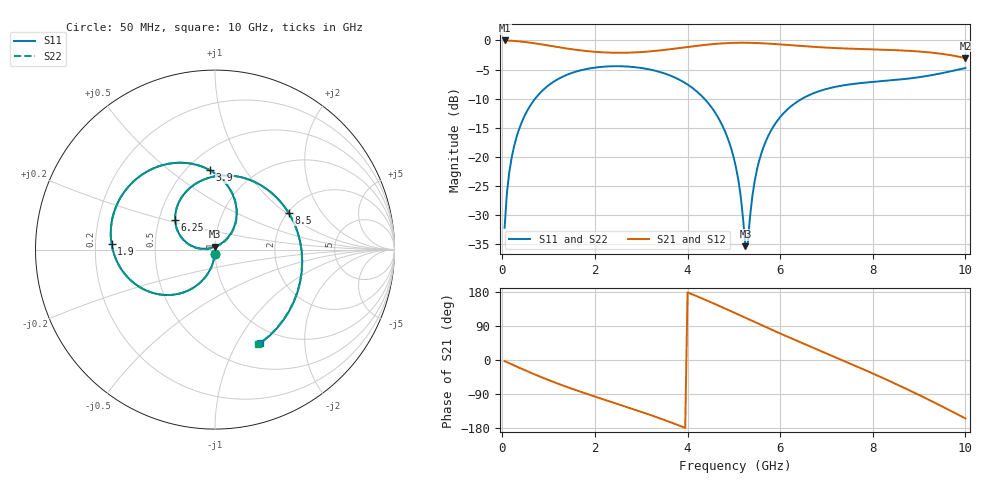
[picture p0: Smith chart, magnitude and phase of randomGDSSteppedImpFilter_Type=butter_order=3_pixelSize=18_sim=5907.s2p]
! freq	dB(S11)	phase(S11)	dB(S12)	phase(S12)
!  dB(S21)	phase(S21)	dB(S22)	phase(S22)
!S-par simulation data
#  GHz  S  DB  R 50
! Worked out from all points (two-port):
!   200 points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, 50 MHz to 10 GHz, reference 50 ohm
!   highest |S21| = 0.00 dB at 50 MHz (marker M1); lowest = -3.0 dB at 10 GHz (marker M2)
!   |S21| within 3 dB of the highest: start of sweep to 9.985 GHz
!   lowest |S11| = -35.3 dB at 5.25 GHz (marker M3), VSWR 1.03, Z = 50.1 + j1.72 ohm
!   |S11| at or under -10 dB: start of sweep to 709.5 MHz; 4.363 GHz to 6.474 GHz (2.111 GHz wide, 39 % of centre)
!   |S22| runs from -36.2 to -4.4 dB; largest |S21 - S12| = 0
!   S11 on the Smith chart (normalised r, x): 50 MHz: 1.00, -0.05; 1.9 GHz: 0.27, +0.02; 3.9 GHz: 0.64, +0.71; 6.25 GHz: 0.61, +0.22; 8.5 GHz: 2.02, +1.05; 10 GHz: 0.79, -1.25
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0.05  -32.14 -92.9  -0.00 -2.8  -0.00 -2.8  -32.14 -92.9
0.2  -20.21 -101.7  -0.06 -11.2  -0.06 -11.2  -20.21 -101.7
0.5  -12.65 -118.1  -0.28 -27.6  -0.28 -27.6  -12.65 -118.2
1.05  -7.40 -145.9  -0.94 -55.3  -0.94 -55.3  -7.40 -145.9
1.75  -5.02 -176.8  -1.76 -86.2  -1.76 -86.2  -5.02 -176.8
1.9  -4.78 177.1  -1.89 -92.4  -1.89 -92.4  -4.78 177.0
3.4  -5.41 116.2  -1.72 -153.8  -1.72 -153.8  -5.41 116.0
3.9  -7.07 93.7  -1.23 -176.8  -1.23 -176.8  -7.07 93.5
4.6  -12.43 59.8  -0.60 147.3  -0.60 147.3  -12.44 59.3
5.05  -21.93 42.4  -0.41 122.5  -0.41 122.5  -21.96 40.9
5.15  -26.85 45.4  -0.40 116.9  -0.40 116.9  -26.96 42.9
5.25  -35.30 85.1  -0.40 111.3  -0.40 111.3  -36.22 82.0
5.3  -34.80 139.4  -0.40 108.5  -0.40 108.5  -35.63 142.7
5.45  -24.12 175.7  -0.43 100.2  -0.43 100.2  -24.19 177.4
5.6  -19.22 173.6  -0.48 91.8  -0.48 91.8  -19.24 174.5
6.25  -11.20 143.5  -0.83 56.7  -0.83 56.7  -11.21 143.8
6.7  -9.13 120.9  -1.09 33.0  -1.09 33.0  -9.13 121.0
7.5  -7.54 80.2  -1.41 -8.7  -1.41 -8.7  -7.55 80.1
8.35  -6.88 35.0  -1.63 -54.9  -1.63 -54.9  -6.88 34.6
8.5  -6.77 26.7  -1.67 -63.3  -1.67 -63.3  -6.78 26.2
9.2  -6.06 -13.9  -2.04 -104.4  -2.04 -104.4  -6.06 -14.6
10  -4.73 -64.4  -3.03 -154.2  -3.03 -154.2  -4.74 -65.3
